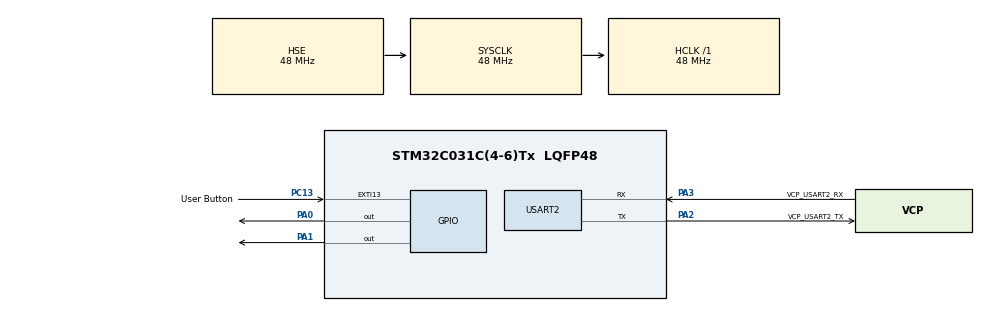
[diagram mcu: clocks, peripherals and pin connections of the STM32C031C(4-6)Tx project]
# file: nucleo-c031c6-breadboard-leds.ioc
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Mcu.Family=STM32C0
Mcu.Name=STM32C031C(4-6)Tx
Mcu.Package=LQFP48
NVIC.EXTI4_15_IRQn=true\:0\:0\:false\:false\:true\:true\:true\:true
PA0.Signal=GPIO_Output
PA1.Signal=GPIO_Output
PA13.GPIO_Label=DEBUG_SWDIO
PA13.Signal=DEBUG_SWDIO
PA14-BOOT0.GPIO_Label=DEBUG_SWCLK
PA14-BOOT0.Signal=DEBUG_SWCLK
PA2.GPIO_Label=VCP_USART2_TX
PA2.Mode=Asynchronous
PA2.Signal=USART2_TX
PA3.GPIO_Label=VCP_USART2_RX
PA3.Mode=Asynchronous
PA3.Signal=USART2_RX
PC13.GPIO_Label=User Button
PC13.Signal=GPXTI13
PC14-OSCX_IN\ (PC14).GPIO_Label=RCC_OSCX_IN
PC14-OSCX_IN\ (PC14).Mode=LSE-External-Oscillator
PC14-OSCX_IN\ (PC14).Signal=RCC_OSCX_IN
PC15-OSCX_OUT\ (PC15).GPIO_Label=RCC_OSCX_OUT
PC15-OSCX_OUT\ (PC15).Mode=LSE-External-Oscillator
PC15-OSCX_OUT\ (PC15).Signal=RCC_OSCX_OUT
PF0-OSC_IN\ (PF0).GPIO_Label=RCC_OSC_IN
PF0-OSC_IN\ (PF0).Mode=HSE-External-Oscillator
PF0-OSC_IN\ (PF0).Signal=RCC_OSC_IN
PF1-OSC_OUT\ (PF1).GPIO_Label=RCC_OSC_OUT
PF1-OSC_OUT\ (PF1).Mode=HSE-External-Oscillator
PF1-OSC_OUT\ (PF1).Signal=RCC_OSC_OUT
ProjectManager.HeapSize=0x200
ProjectManager.StackSize=0x400
ProjectManager.TargetToolchain=STM32CubeIDE
RCC.ADCFreq_Value=48000000
RCC.AHBFreq_Value=48000000
RCC.CortexFreq_Value=48000000
RCC.EXTERNAL_CLOCK_VALUE=12288000
RCC.HCLKFreq_Value=48000000
RCC.HSE_VALUE=48000000
RCC.HSISYSCLKDivider=RCC_HSI_DIV1
RCC.HSI_VALUE=48000000
RCC.SYSCLKFreq_VALUE=48000000
RCC.SYSCLKSource=RCC_SYSCLKSOURCE_HSE
USART2.VirtualMode-Asynchronous=VM_ASYNC
board=NUCLEO-C031C6

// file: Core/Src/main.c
/* USER CODE BEGIN Header */
/**
  ******************************************************************************
  * @file           : main.c
  * @brief          : Main program body
  ******************************************************************************
  * @attention
  *
  * Copyright (c) 2025 STMicroelectronics.
  * All rights reserved.
  *
  * This software is licensed under terms that can be found in the LICENSE file
  * in the root directory of this software component.
  * If no LICENSE file comes with this software, it is provided AS-IS.
  *
  ******************************************************************************
  */
/* USER CODE END Header */
#include "main.h"

UART_HandleTypeDef huart2;

void SystemClock_Config(void);
static void MX_GPIO_Init(void);
static void MX_USART2_UART_Init(void);

int main(void)
{

  /* MCU Configuration--------------------------------------------------------*/

  /* Reset of all peripherals, Initializes the Flash interface and the Systick. */
  HAL_Init();

  /* Configure the system clock */
  SystemClock_Config();

  /* Initialize all configured peripherals */
  MX_GPIO_Init();
  MX_USART2_UART_Init();
  /* USER CODE BEGIN 2 */
  uint8_t UART1_rxBuffer[3] = {'0', '0'};
  uint8_t UART1_txMessage[] = "Invalid value(3). The only valid values are 0 or 1\n";

  /* USER CODE END 2 */

  /* Infinite loop */
  /* USER CODE BEGIN WHILE */
  while (1)
  {
	  HAL_StatusTypeDef status = HAL_UART_Receive(&huart2, UART1_rxBuffer, 2, 5000);
	  if (status == HAL_OK) {
		  if ((UART1_rxBuffer[0] != '0' && UART1_rxBuffer[0] != '1')
		  || (UART1_rxBuffer[1] != '0' && UART1_rxBuffer[1] != '1')){
		  	  HAL_UART_Transmit(&huart2, UART1_txMessage,
				  	  	  	sizeof(UART1_txMessage), 100);
		  }
		  else {
			  HAL_UART_Transmit(&huart2, UART1_rxBuffer,
			  			  	    sizeof(UART1_rxBuffer), 100);
			  if (UART1_rxBuffer[0] == '0') {
				  HAL_GPIO_WritePin(GPIOA, GPIO_PIN_1, GPIO_PIN_RESET);
			  }
			  else {
				  HAL_GPIO_WritePin(GPIOA, GPIO_PIN_1, GPIO_PIN_SET);
			  }

			  if (UART1_rxBuffer[1] == '0') {
			  		HAL_GPIO_WritePin(GPIOA, GPIO_PIN_0, GPIO_PIN_RESET);
			  }
			  else {
			  	    HAL_GPIO_WritePin(GPIOA, GPIO_PIN_0, GPIO_PIN_SET);
			  }
		  }
	  }
	  else {
		  uint8_t timeout_message[] = "Timeout\n";
		  HAL_UART_Transmit(&huart2, timeout_message, 9, 100);
	  }
    /* USER CODE END WHILE */

  }
}

void SystemClock_Config(void)
{
  RCC_OscInitTypeDef RCC_OscInitStruct = {0};
  RCC_ClkInitTypeDef RCC_ClkInitStruct = {0};

  __HAL_FLASH_SET_LATENCY(FLASH_LATENCY_1);

  /** Initializes the RCC Oscillators according to the specified parameters
  * in the RCC_OscInitTypeDef structure.
  */
  RCC_OscInitStruct.OscillatorType = RCC_OSCILLATORTYPE_HSE;
  RCC_OscInitStruct.HSEState = RCC_HSE_ON;
  if (HAL_RCC_OscConfig(&RCC_OscInitStruct) != HAL_OK)
  {
    Error_Handler();
  }

  /** Initializes the CPU, AHB and APB buses clocks
  */
  RCC_ClkInitStruct.ClockType = RCC_CLOCKTYPE_HCLK|RCC_CLOCKTYPE_SYSCLK
                              |RCC_CLOCKTYPE_PCLK1;
  RCC_ClkInitStruct.SYSCLKSource = RCC_SYSCLKSOURCE_HSE;
  RCC_ClkInitStruct.SYSCLKDivider = RCC_SYSCLK_DIV1;
  RCC_ClkInitStruct.AHBCLKDivider = RCC_HCLK_DIV1;
  RCC_ClkInitStruct.APB1CLKDivider = RCC_APB1_DIV1;

  if (HAL_RCC_ClockConfig(&RCC_ClkInitStruct, FLASH_LATENCY_1) != HAL_OK)
  {
    Error_Handler();
  }
}

static void MX_USART2_UART_Init(void)
{

  huart2.Instance = USART2;
  huart2.Init.BaudRate = 115200;
  huart2.Init.WordLength = UART_WORDLENGTH_8B;
  huart2.Init.StopBits = UART_STOPBITS_1;
  huart2.Init.Parity = UART_PARITY_NONE;
  huart2.Init.Mode = UART_MODE_TX_RX;
  huart2.Init.HwFlowCtl = UART_HWCONTROL_NONE;
  huart2.Init.OverSampling = UART_OVERSAMPLING_16;
  huart2.Init.OneBitSampling = UART_ONE_BIT_SAMPLE_DISABLE;
  huart2.Init.ClockPrescaler = UART_PRESCALER_DIV1;
  huart2.AdvancedInit.AdvFeatureInit = UART_ADVFEATURE_NO_INIT;
  if (HAL_UART_Init(&huart2) != HAL_OK)
  {
    Error_Handler();
  }

}

static void MX_GPIO_Init(void)
{
  GPIO_InitTypeDef GPIO_InitStruct = {0};

  /* GPIO Ports Clock Enable */
  __HAL_RCC_GPIOC_CLK_ENABLE();
  __HAL_RCC_GPIOF_CLK_ENABLE();
  __HAL_RCC_GPIOA_CLK_ENABLE();

  /*Configure GPIO pin Output Level */
  HAL_GPIO_WritePin(GPIOA, GPIO_PIN_0|GPIO_PIN_1, GPIO_PIN_RESET);

  /*Configure GPIO pin : User_Button_Pin */
  GPIO_InitStruct.Pin = User_Button_Pin;
  GPIO_InitStruct.Mode = GPIO_MODE_IT_RISING;
  GPIO_InitStruct.Pull = GPIO_NOPULL;
  HAL_GPIO_Init(User_Button_GPIO_Port, &GPIO_InitStruct);

  /*Configure GPIO pins : PA0 PA1 */
  GPIO_InitStruct.Pin = GPIO_PIN_0|GPIO_PIN_1;
  GPIO_InitStruct.Mode = GPIO_MODE_OUTPUT_PP;
  GPIO_InitStruct.Pull = GPIO_NOPULL;
  GPIO_InitStruct.Speed = GPIO_SPEED_FREQ_LOW;
  HAL_GPIO_Init(GPIOA, &GPIO_InitStruct);

  /* EXTI interrupt init*/
  HAL_NVIC_SetPriority(EXTI4_15_IRQn, 0, 0);
  HAL_NVIC_EnableIRQ(EXTI4_15_IRQn);

}

void Error_Handler(void)
{
  __disable_irq();
  while (1)
  {
  }
}
